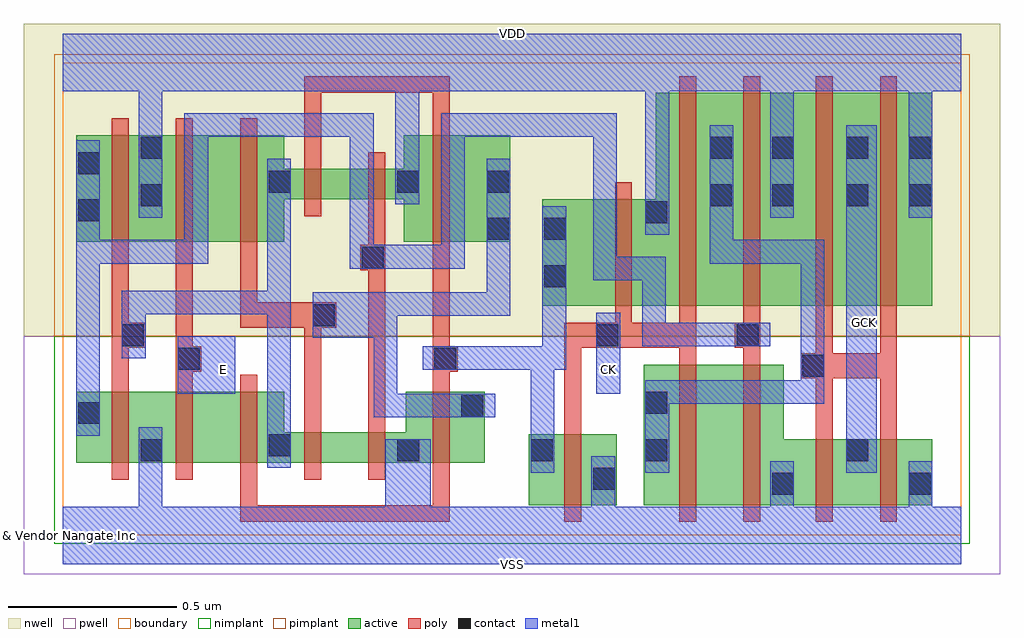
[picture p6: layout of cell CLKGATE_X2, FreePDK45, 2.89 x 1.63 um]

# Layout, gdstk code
import gdstk
lib = gdstk.Library(unit=1e-6, precision=1e-10)
def R(c, l, rs):  # rectangles x0, y0, x1, y1
    for r in rs: c.add(gdstk.rectangle(r[:2], r[2:], *l))
def P(c, l, *ps):  # polygons
    for p in ps: c.add(gdstk.Polygon(p, *l))
active = (1, 0)
pwell = (2, 0)
nwell = (3, 0)
nimplant = (4, 0)
pimplant = (5, 0)
poly = (9, 0)
contact = (10, 0)
metal1 = (11, 0)
boundary = (235, 0)

clkgate_x2 = lib.new_cell('CLKGATE_X2')
R(clkgate_x2, active, [(1.38,0.09,1.64,0.3)])
P(clkgate_x2, active, [(0.04,0.215),(0.04,0.425),(0.655,0.425),(0.655,0.305),(1.015,0.305),(1.015,0.425),(1.25,0.425),(1.25,0.215)],
  [(0.04,0.87),(0.04,1.185),(0.655,1.185),(0.655,1.085),(1.01,1.085),(1.01,1.185),(1.325,1.185),(1.325,0.87),(1.01,0.87),(1.01,0.995),(0.655,0.995),(0.655,0.87)],
  [(1.72,0.09),(1.72,0.505),(2.135,0.505),(2.135,0.285),(2.575,0.285),(2.575,0.09)],
  [(1.42,0.68),(1.42,0.995),(1.755,0.995),(1.755,1.31),(2.575,1.31),(2.575,0.68)])
R(clkgate_x2, pwell, [(-0.115,-0.115,2.775,0.59)])
R(clkgate_x2, nwell, [(-0.115,0.59,2.775,1.515)])
R(clkgate_x2, nimplant, [(-0.025,-0.025,2.685,0.59)])
R(clkgate_x2, pimplant, [(-0.025,0.59,2.685,1.425)])
P(clkgate_x2, poly, [(0.145,0.165),(0.145,1.235),(0.195,1.235),(0.195,0.63),(0.245,0.63),(0.245,0.555),(0.195,0.555),(0.195,0.165)],
  [(0.335,0.165),(0.335,1.235),(0.385,1.235),(0.385,0.56),(0.41,0.56),(0.41,0.485),(0.385,0.485),(0.385,0.165)],
  [(0.715,0.165),(0.715,0.615),(0.525,0.615),(0.525,1.235),(0.575,1.235),(0.575,0.69),(0.81,0.69),(0.81,0.615),(0.765,0.615),(0.765,0.165)],
  [(0.905,0.165),(0.905,0.785),(0.88,0.785),(0.88,0.86),(0.905,0.86),(0.905,1.135),(0.955,1.135),(0.955,0.165)],
  [(0.525,0.04),(0.525,0.475),(0.575,0.475),(0.575,0.09),(1.095,0.09),(1.095,1.31),(0.765,1.31),(0.765,0.945),(0.715,0.945),(0.715,1.36),(1.145,1.36),(1.145,0.56),(1.17,0.56),(1.17,0.485),(1.145,0.485),(1.145,0.04)],
  [(1.485,0.04),(1.485,0.63),(1.635,0.63),(1.635,1.045),(1.685,1.045),(1.685,0.63),(1.825,0.63),(1.825,1.36),(1.875,1.36),(1.875,0.04),(1.825,0.04),(1.825,0.555),(1.535,0.555),(1.535,0.04)],
  [(2.015,0.04),(2.015,0.555),(1.99,0.555),(1.99,0.63),(2.015,0.63),(2.015,1.36),(2.065,1.36),(2.065,0.04)],
  [(2.23,0.04),(2.23,0.465),(2.185,0.465),(2.185,0.54),(2.23,0.54),(2.23,1.36),(2.28,1.36),(2.28,0.54),(2.42,0.54),(2.42,1.36),(2.47,1.36),(2.47,0.04),(2.42,0.04),(2.42,0.465),(2.28,0.465),(2.28,0.04)])
R(clkgate_x2, contact, [(2.1,0.12,2.165,0.185), (2.505,0.12,2.57,0.185), (1.57,0.135,1.635,0.2), (0.23,0.22,0.295,0.285), (0.99,0.22,1.055,0.285), (1.385,0.22,1.45,0.285), (1.725,0.22,1.79,0.285), (2.32,0.22,2.385,0.285), (0.61,0.235,0.675,0.3), (0.045,0.33,0.11,0.395), (1.18,0.35,1.245,0.415), (1.725,0.36,1.79,0.425), (2.19,0.47,2.255,0.535), (0.34,0.49,0.405,0.555), (1.1,0.49,1.165,0.555), (0.175,0.56,0.24,0.625), (1.58,0.56,1.645,0.625), (1.995,0.56,2.06,0.625), (0.74,0.62,0.805,0.685), (1.425,0.735,1.49,0.8), (0.885,0.79,0.95,0.855), (1.255,0.875,1.32,0.94), (1.425,0.875,1.49,0.94), (1.725,0.925,1.79,0.99), (0.045,0.93,0.11,0.995), (0.23,0.975,0.295,1.04), (1.915,0.975,1.98,1.04), (2.1,0.975,2.165,1.04), (2.32,0.975,2.385,1.04), (2.505,0.975,2.57,1.04), (0.61,1.015,0.675,1.08), (0.99,1.015,1.055,1.08), (1.255,1.015,1.32,1.08), (0.045,1.07,0.11,1.135), (0.23,1.115,0.295,1.18), (1.915,1.115,1.98,1.18), (2.1,1.115,2.165,1.18), (2.32,1.115,2.385,1.18), (2.505,1.115,2.57,1.18)])
R(clkgate_x2, metal1, [(2.32,0.185,2.41,1.215), (0.34,0.42,0.51,0.59), (1.58,0.42,1.65,0.66)])
P(clkgate_x2, metal1, [(0.605,0.2),(0.605,0.655),(0.245,0.655),(0.245,0.525),(0.175,0.525),(0.175,0.725),(0.605,0.725),(0.605,1.115),(0.675,1.115),(0.675,0.2)],
  [(0.92,0.35),(0.92,0.585),(0.74,0.585),(0.74,0.72),(1.255,0.72),(1.255,1.115),(1.325,1.115),(1.325,0.65),(0.99,0.65),(0.99,0.42),(1.28,0.42),(1.28,0.35)],
  [(1.385,0.185),(1.385,0.49),(1.065,0.49),(1.065,0.56),(1.42,0.56),(1.42,0.975),(1.49,0.975),(1.49,0.49),(1.455,0.49),(1.455,0.185)],
  [(0.04,0.295),(0.04,1.17),(0.11,1.17),(0.11,0.875),(0.36,0.875),(0.36,1.25),(0.92,1.25),(0.92,0.86),(1.12,0.86),(1.12,1.25),(1.64,1.25),(1.64,0.825),(1.785,0.825),(1.785,0.63),(2.095,0.63),(2.095,0.56),(1.715,0.56),(1.715,0.755),(1.57,0.755),(1.57,1.18),(1.19,1.18),(1.19,0.79),(0.85,0.79),(0.85,1.18),(0.43,1.18),(0.43,0.805),(0.11,0.805),(0.11,0.295)],
  [(1.725,0.185),(1.725,0.46),(2.185,0.46),(2.185,0.805),(1.915,0.805),(1.915,1.215),(1.985,1.215),(1.985,0.875),(2.255,0.875),(2.255,0.39),(1.795,0.39),(1.795,0.185)],
  [(0,-0.085),(0,0.085),(0.225,0.085),(0.225,0.32),(0.295,0.32),(0.295,0.085),(0.955,0.085),(0.955,0.285),(1.09,0.285),(1.09,0.085),(1.565,0.085),(1.565,0.235),(1.635,0.235),(1.635,0.085),(2.095,0.085),(2.095,0.22),(2.165,0.22),(2.165,0.085),(2.505,0.085),(2.505,0.22),(2.575,0.22),(2.575,0.085),(2.66,0.085),(2.66,-0.085)],
  [(1.725,0.89),(1.725,1.315),(1.055,1.315),(1.055,0.98),(0.985,0.98),(0.985,1.315),(0.295,1.315),(0.295,0.94),(0.225,0.94),(0.225,1.315),(0,1.315),(0,1.485),(2.66,1.485),(2.66,1.315),(2.575,1.315),(2.575,0.94),(2.505,0.94),(2.505,1.315),(2.165,1.315),(2.165,0.94),(2.095,0.94),(2.095,1.315),(1.795,1.315),(1.795,0.89)])
R(clkgate_x2, boundary, [(0,0,2.66,1.4)])
clkgate_x2.add(gdstk.Label('CK', (1.615,0.49), layer=11, texttype=0))
clkgate_x2.add(gdstk.Label('E', (0.475,0.49), layer=11, texttype=0))
clkgate_x2.add(gdstk.Label('GCK', (2.375,0.63), layer=11, texttype=0))
clkgate_x2.add(gdstk.Label('VDD', (1.33,1.485), layer=11, texttype=0))
clkgate_x2.add(gdstk.Label('VSS', (1.33,-0.085), layer=11, texttype=0))
clkgate_x2.add(gdstk.Label('& Vendor Nangate Inc', (0,0), layer=63, texttype=63))
clkgate_x2.add(gdstk.Label('& Product Open Cell Library', (0,0), layer=63, texttype=63))
clkgate_x2.add(gdstk.Label('& Version 2010_12', (0,0), layer=63, texttype=63))
clkgate_x2.add(gdstk.Label('& Instance CLKGATE_X2', (0,0), layer=63, texttype=63))

lib.write_gds('CLKGATE_X2.gds')
